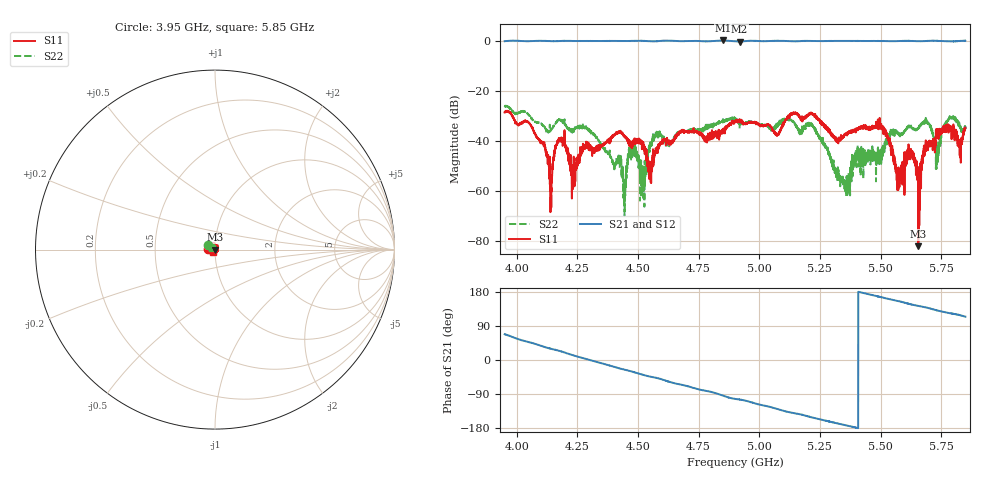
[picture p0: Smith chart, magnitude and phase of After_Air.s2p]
# GHZ S RI R 50.000000000000
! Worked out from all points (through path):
!   4501 points, 3.95 GHz to 5.85 GHz, reference 50 ohm
!   highest |S21| = 0.11 dB at 4.851 GHz (marker M1); lowest = -0.3 dB at 4.919 GHz (marker M2)
!   group delay of S21, straight-line fit = 452 ps
!   lowest |S11| = -81.9 dB at 5.656 GHz (marker M3), VSWR 1.00, Z = 50 - j0.00385 ohm
!   |S11| at or under -10 dB: start of sweep to end of sweep
!   |S22| runs from -69.6 to -25.9 dB; largest |S21 - S12| = 0.04
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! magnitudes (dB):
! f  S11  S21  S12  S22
! 3.95 GHz  -28.6  -0.2  -0.2  -26.4
! 4.056 GHz  -33.5  -0.2  -0.2  -30.4
! 4.139 GHz  -68.3  -0.2  -0.2  -36.1
! 4.174 GHz  -39.5  -0.2  -0.1  -31.5
! 4.232 GHz  -53.8  -0.1  -0.1  -35.6
! 4.267 GHz  -44.8  -0.1  -0.1  -34.6
! 4.442 GHz  -37.6  -0.1  -0.2  -60.7
! 4.47 GHz  -41.2  -0.1  -0.1  -43.6
! 4.517 GHz  -41.1  -0.1  0.0  -54.9
! 4.55 GHz  -51.6  -0.2  -0.2  -42.9
! 4.584 GHz  -42.6  -0.1  -0.2  -37.1
! 4.851 GHz  -36.4  0.1  0.1  -31.3
! 4.9 GHz  -31.8  -0.2  -0.2  -31.8
! 4.919 GHz  -32.4  -0.3  -0.3  -32.4
! 5.217 GHz  -29.2  -0.1  -0.1  -34.2
! 5.361 GHz  -36.9  -0.1  -0.1  -58.6
! 5.534 GHz  -39.7  -0.1  -0.1  -37.8
! 5.572 GHz  -52.6  -0.1  -0.1  -36.9
! 5.625 GHz  -45.2  -0.1  -0.1  -34.5
! 5.656 GHz  -81.9  -0.2  -0.2  -35.0
! 5.738 GHz  -35.6  -0.1  -0.1  -42.4
! 5.85 GHz  -34.8  0.0  0.0  -35.0
